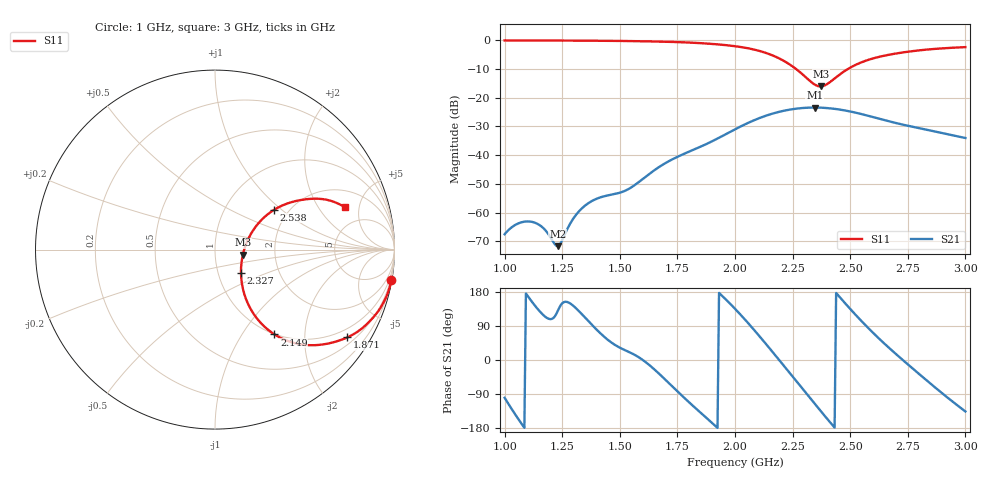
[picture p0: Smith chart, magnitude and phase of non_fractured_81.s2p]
! TOUCHSTONE file generated by CST MICROWAVE STUDIO
! Date and time: Sat Mar  8 13:54:32 2025
! Project name: non_fractured.cst
! Parameters = {B=2.5; D=160; F=5; Feed=2.85625; L=100; M=10; R=0.384908; S=1; Theta=0; length=57.125; wave=114.25}
! Header version: 2024
! Port assignment regex: !\s*Touchstone port\s*([0-9]+)\s*=\s*(CST MWS port|CST DES external port|CST DES block port)\s*(.+)\s* \(\"(.*)\"\)(\s*mode\s*([0-9]+))?.*
! Touchstone port assignment:
! Touchstone port 1 = CST MWS port 1 ("")
! Touchstone port 2 = CST MWS port 2 ("")
# GHz S DB R 50
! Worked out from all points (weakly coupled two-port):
!   304 points, 1 GHz to 3 GHz, reference 50 ohm
!   highest |S21| = -23.40 dB at 2.347 GHz (marker M1); lowest = -71.7 dB at 1.231 GHz (marker M2)
!   lowest |S11| = -16.0 dB at 2.373 GHz (marker M3), VSWR 1.37, Z = 68.2 - j3.99 ohm
!   |S11| at or under -10 dB: 2.266 GHz to 2.489 GHz (223.6 MHz wide, 9.41 % of centre)
!   S12 and S22 are empty: the file has one direction only
!   S11 on the Smith chart (normalised r, x): 1 GHz: 0, -12; 1.871 GHz: 0.70, -3.18; 2.149 GHz: 0.99, -1.41; 2.327 GHz: 1.29, -0.35; 2.538 GHz: 1.69, +0.89; 3 GHz: 3.19, +3.61
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1  -0.02 -9.7  -67.58 -99.7  -200.00 0.0  -200.00 0.0
1.05941  -0.02 -10.6  -63.79 -155.7  -200.00 0.0  -200.00 0.0
1.11881  -0.03 -11.4  -63.26 153.5  -200.00 0.0  -200.00 0.0
1.16502  -0.04 -12.1  -65.21 120.3  -200.00 0.0  -200.00 0.0
1.23102  -0.05 -13.2  -71.73 130.0  -200.00 0.0  -200.00 0.0
1.24422  -0.05 -13.5  -70.54 145.3  -200.00 0.0  -200.00 0.0
1.29043  -0.07 -14.3  -63.06 146.8  -200.00 0.0  -200.00 0.0
1.33663  -0.08 -15.2  -58.45 120.1  -200.00 0.0  -200.00 0.0
1.40264  -0.12 -16.7  -55.09 78.2  -200.00 0.0  -200.00 0.0
1.53465  -0.22 -20.0  -51.95 22.6  -200.00 0.0  -200.00 0.0
1.66667  -0.41 -24.1  -44.34 -34.0  -200.00 0.0  -200.00 0.0
1.87129  -1.06 -33.5  -36.30 -150.2  -200.00 0.0  -200.00 0.0
2.0033  -2.06 -42.2  -30.86 133.1  -200.00 0.0  -200.00 0.0
2.14851  -4.77 -55.0  -25.87 32.0  -200.00 0.0  -200.00 0.0
2.24092  -8.57 -58.9  -24.08 -36.9  -200.00 0.0  -200.00 0.0
2.32673  -14.23 -41.9  -23.42 -101.3  -200.00 0.0  -200.00 0.0
2.33993  -15.07 -34.6  -23.40 -111.1  -200.00 0.0  -200.00 0.0
2.34653  -15.42 -30.3  -23.40 -116.0  -200.00 0.0  -200.00 0.0
2.37294  -16.05 -10.4  -23.45 -135.5  -200.00 0.0  -200.00 0.0
2.53795  -8.00 33.9  -25.46 109.8  -200.00 0.0  -200.00 0.0
2.66997  -4.97 29.6  -28.23 31.3  -200.00 0.0  -200.00 0.0
3  -2.34 18.0  -34.01 -135.8  -200.00 0.0  -200.00 0.0
